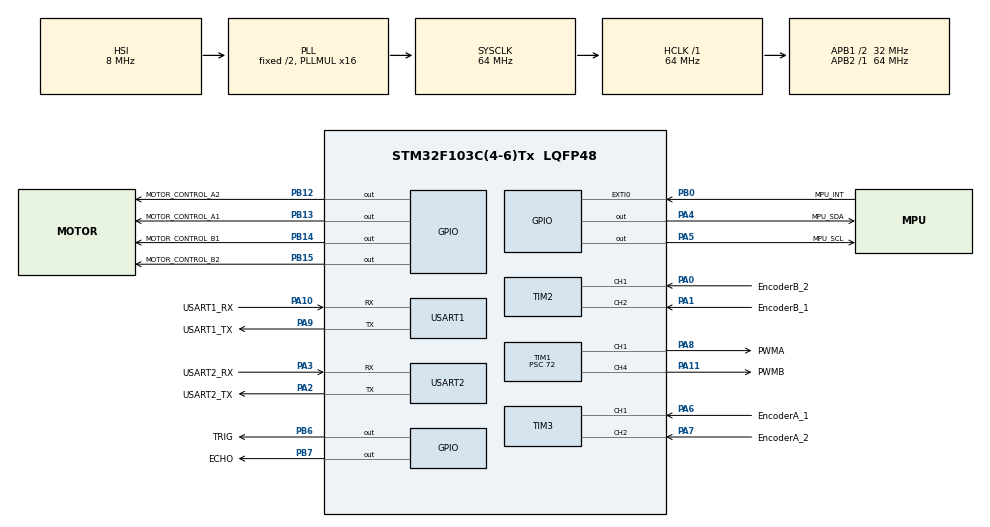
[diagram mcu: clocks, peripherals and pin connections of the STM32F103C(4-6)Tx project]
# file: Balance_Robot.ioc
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Mcu.Family=STM32F1
Mcu.Name=STM32F103C(4-6)Tx
Mcu.Package=LQFP48
NVIC.EXTI0_IRQn=true\:0\:0\:false\:false\:true\:true\:true\:true
NVIC.PriorityGroup=NVIC_PRIORITYGROUP_4
PA0-WKUP.GPIO_Label=EncoderB_2
PA0-WKUP.Signal=S_TIM2_CH1_ETR
PA1.GPIO_Label=EncoderB_1
PA1.Signal=S_TIM2_CH2
PA10.GPIO_Label=USART1_RX
PA10.Mode=Asynchronous
PA10.Signal=USART1_RX
PA11.GPIO_Label=PWMB
PA11.Signal=S_TIM1_CH4
PA13.Signal=SYS_JTMS-SWDIO
PA14.Signal=SYS_JTCK-SWCLK
PA2.GPIO_Label=USART2_TX
PA2.Mode=Asynchronous
PA2.Signal=USART2_TX
PA3.GPIO_Label=USART2_RX
PA3.Mode=Asynchronous
PA3.Signal=USART2_RX
PA4.GPIO_Label=MPU_SDA
PA4.Signal=GPIO_Output
PA5.GPIO_Label=MPU_SCL
PA5.Signal=GPIO_Output
PA6.GPIO_Label=EncoderA_1
PA6.Signal=S_TIM3_CH1
PA7.GPIO_Label=EncoderA_2
PA7.Signal=S_TIM3_CH2
PA8.GPIO_Label=PWMA
PA8.Signal=S_TIM1_CH1
PA9.GPIO_Label=USART1_TX
PA9.Mode=Asynchronous
PA9.Signal=USART1_TX
PB0.GPIO_Label=MPU_INT
PB0.Signal=GPXTI0
PB12.GPIO_Label=MOTOR_CONTROL_A2
PB12.Signal=GPIO_Output
PB13.GPIO_Label=MOTOR_CONTROL_A1
PB13.Signal=GPIO_Output
PB14.GPIO_Label=MOTOR_CONTROL_B1
PB14.Signal=GPIO_Output
PB15.GPIO_Label=MOTOR_CONTROL_B2
PB15.Signal=GPIO_Output
PB6.GPIO_Label=TRIG
PB6.Signal=GPIO_Output
PB7.GPIO_Label=ECHO
PB7.Signal=GPIO_Output
ProjectManager.HeapSize=0x200
ProjectManager.StackSize=0x400
ProjectManager.TargetToolchain=MDK-ARM V5
RCC.AHBFreq_Value=64000000
RCC.APB1CLKDivider=RCC_HCLK_DIV2
RCC.APB1Freq_Value=32000000
RCC.APB1TimFreq_Value=64000000
RCC.APB2Freq_Value=64000000
RCC.APB2TimFreq_Value=64000000
RCC.HCLKFreq_Value=64000000
RCC.PLLMUL=RCC_PLL_MUL16
RCC.SYSCLKFreq_VALUE=64000000
RCC.SYSCLKSource=RCC_SYSCLKSOURCE_PLLCLK
RCC.USBFreq_Value=64000000
SH.S_TIM1_CH1.0=TIM1_CH1,PWM Generation1 CH1
SH.S_TIM1_CH4.0=TIM1_CH4,PWM Generation4 CH4
SH.S_TIM2_CH1_ETR.0=TIM2_CH1,Encoder_Interface
SH.S_TIM2_CH2.0=TIM2_CH2,Encoder_Interface
SH.S_TIM3_CH1.0=TIM3_CH1,Encoder_Interface
SH.S_TIM3_CH2.0=TIM3_CH2,Encoder_Interface
TIM1.AutoReloadPreload=TIM_AUTORELOAD_PRELOAD_ENABLE
TIM1.Channel-PWM\ Generation1\ CH1=TIM_CHANNEL_1
TIM1.Channel-PWM\ Generation4\ CH4=TIM_CHANNEL_4
TIM1.OCPolarity_1=TIM_OCPOLARITY_HIGH
TIM1.Period=500
TIM1.Prescaler=72
TIM2.EncoderMode=TIM_ENCODERMODE_TI12
TIM3.EncoderMode=TIM_ENCODERMODE_TI12
USART1.VirtualMode=VM_ASYNC
USART2.VirtualMode=VM_ASYNC
VP_SYS_VS_ND.Mode=No_Debug
board=custom

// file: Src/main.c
/* USER CODE BEGIN Header */
/**
  ******************************************************************************
  * @file           : main.c
  * @brief          : Main program body
  ******************************************************************************
  * @attention
  *
  * Copyright (c) 2023 STMicroelectronics.
  * All rights reserved.
  *
  * This software is licensed under terms that can be found in the LICENSE file
  * in the root directory of this software component.
  * If no LICENSE file comes with this software, it is provided AS-IS.
  *
  ******************************************************************************
  */
/* USER CODE END Header */
#include "main.h"
#include <stdarg.h>
#include <stdio.h>
#include <string.h>

void SystemClock_Config(void);

/* USER CODE BEGIN 0 */

int debug_printf(const char *format,...);
uint8_t gStartAllControl = 0;

int main(void)
{

  HAL_Init();
  SystemClock_Config();
  MX_GPIO_Init();
  MX_TIM1_Init();
  MX_TIM2_Init();
  MX_TIM3_Init();
  MX_USART1_UART_Init();
  MX_USART2_UART_Init();

  HAL_TIM_PWM_Start(&htim1,TIM_CHANNEL_1);
  HAL_TIM_PWM_Start(&htim1,TIM_CHANNEL_4);

  HAL_TIM_Encoder_Start(&htim3, TIM_CHANNEL_ALL);
	HAL_TIM_Encoder_Start(&htim2, TIM_CHANNEL_ALL);
	uint16_t index = 0;

  LED_OFF();
	while(MPU_Init())
  {
    HAL_Delay(200);
  }
	while(mpu_dmp_init())
  {
    HAL_Delay(200);
  }
	gStartAllControl = 1;
	LED_ON();

	//gyroy
	while(1)
	{

		// debug_printf("pitch:%f,roll:%f,yaw:%f,gyrox:%d,gyroy:%d,gyroz:%d\n",pitch,roll,yaw,gyrox,gyroy,gyroz);
//    mpu6050_send_data(aacx,aacy,aacz,gyrox,gyroy,gyroz);//??????????????????
//    usart1_report_imu(aacx,aacy,aacz,gyrox,gyroy,gyroz,(int)(roll*100),(int)(pitch*100),(int)(yaw*10));

		// encoder_a = ReadEncoderA();
    // encoder_b = ReadEncoderB();

		//debug_printf("encoder_a:%d,encoder_b:%d\n",encoder_a,encoder_b);

//		pid_speed_pwm_a = CalVelocityA(encoder_a, target_speed_a);
//    pid_speed_pwm_b = CalVelocityB(encoder_b, target_speed_b);
//		SetMotorA(pid_speed_pwm_a);
//    SetMotorB(-pid_speed_pwm_b);
//		wave_data[0] = target_speed_a;
//		wave_data[1] = encoder_a;
//		wave_data[2] = encoder_b;
//		wave_data[3] = encoder_a;
//		SendUserWave(wave_data,4);

//    pid_speed_balance_a = CalBalance(pitch,0,gyroy);
//    pid_speed_balance_b = CalBalance(pitch,0,gyroy);

//    SetMotorA(pid_speed_balance_a + pid_speed_pwm_a);
//    SetMotorB(-pid_speed_balance_b - pid_speed_pwm_b);

		// SetMotorA(300);
    // SetMotorB(-300);
	  //debug_printf("pitch:%f,gyroy:%d\n",pitch,gyroy );
//		wave_data[0] = 0;
//		wave_data[1] = pitch;
//		wave_data[3] = pid_speed_balance_a;
//		SendUserWave(wave_data,4);
    HAL_Delay(10);

	}
}

void SystemClock_Config(void)
{
  RCC_OscInitTypeDef RCC_OscInitStruct = {0};
  RCC_ClkInitTypeDef RCC_ClkInitStruct = {0};

  /** Initializes the RCC Oscillators according to the specified parameters
  * in the RCC_OscInitTypeDef structure.
  */
  RCC_OscInitStruct.OscillatorType = RCC_OSCILLATORTYPE_HSI;
  RCC_OscInitStruct.HSIState = RCC_HSI_ON;
  RCC_OscInitStruct.HSICalibrationValue = RCC_HSICALIBRATION_DEFAULT;
  RCC_OscInitStruct.PLL.PLLState = RCC_PLL_ON;
  RCC_OscInitStruct.PLL.PLLSource = RCC_PLLSOURCE_HSI_DIV2;
  RCC_OscInitStruct.PLL.PLLMUL = RCC_PLL_MUL16;
  if (HAL_RCC_OscConfig(&RCC_OscInitStruct) != HAL_OK)
  {
    Error_Handler();
  }

  /** Initializes the CPU, AHB and APB buses clocks
  */
  RCC_ClkInitStruct.ClockType = RCC_CLOCKTYPE_HCLK|RCC_CLOCKTYPE_SYSCLK
                              |RCC_CLOCKTYPE_PCLK1|RCC_CLOCKTYPE_PCLK2;
  RCC_ClkInitStruct.SYSCLKSource = RCC_SYSCLKSOURCE_PLLCLK;
  RCC_ClkInitStruct.AHBCLKDivider = RCC_SYSCLK_DIV1;
  RCC_ClkInitStruct.APB1CLKDivider = RCC_HCLK_DIV2;
  RCC_ClkInitStruct.APB2CLKDivider = RCC_HCLK_DIV1;

  if (HAL_RCC_ClockConfig(&RCC_ClkInitStruct, FLASH_LATENCY_2) != HAL_OK)
  {
    Error_Handler();
  }
}

/* USER CODE BEGIN 4 */

int debug_printf(const char *format,...)
{
  va_list args;
  static char sendbuffer[1000];
  int rv;
  // while(!usart_dma_tx_over);
  // usart_dma_tx_over = 0;

  va_start(args,format);
  rv = vsnprintf((char*)sendbuffer,sizeof(sendbuffer),format,args);
  va_end(args);

  //HAL_UART_Transmit_DMA(&huart1,(uint8_t *)sendbuffer,rv);
	HAL_UART_Transmit_DMA(&huart1, (uint8_t *)sendbuffer, strlen(sendbuffer));

  return rv;
}

void delay_us(uint32_t us)
{
	while(us--)
	{
		__nop();__nop();__nop();__nop();__nop();__nop();__nop();__nop();
		__nop();__nop();__nop();__nop();__nop();__nop();__nop();__nop();
		__nop();__nop();__nop();__nop();__nop();__nop();__nop();__nop();
		__nop();__nop();__nop();__nop();__nop();__nop();__nop();__nop();
		__nop();__nop();__nop();__nop();__nop();__nop();__nop();__nop();
		__nop();__nop();__nop();__nop();__nop();__nop();__nop();__nop();
		__nop();__nop();__nop();__nop();__nop();__nop();__nop();__nop();
		__nop();__nop();__nop();__nop();__nop();__nop();__nop();__nop();
	}
}
void delay_ms(uint32_t ms)
{
  HAL_Delay(ms);

}
/* USER CODE END 4 */

void Error_Handler(void)
{
  __disable_irq();
  while (1)
  {
  }
}

#ifdef  USE_FULL_ASSERT
/**
  * @brief  Reports the name of the source file and the source line number
  *         where the assert_param error has occurred.
  * @param  file: pointer to the source file name
  * @param  line: assert_param error line source number
  * @retval None
  */
void assert_failed(uint8_t *file, uint32_t line)
{
  /* USER CODE BEGIN 6 */
  /* User can add his own implementation to report the file name and line number,
     ex: debug_printf("Wrong parameters value: file %s on line %d\r\n", file, line) */
  /* USER CODE END 6 */
}
#endif /* USE_FULL_ASSERT */
